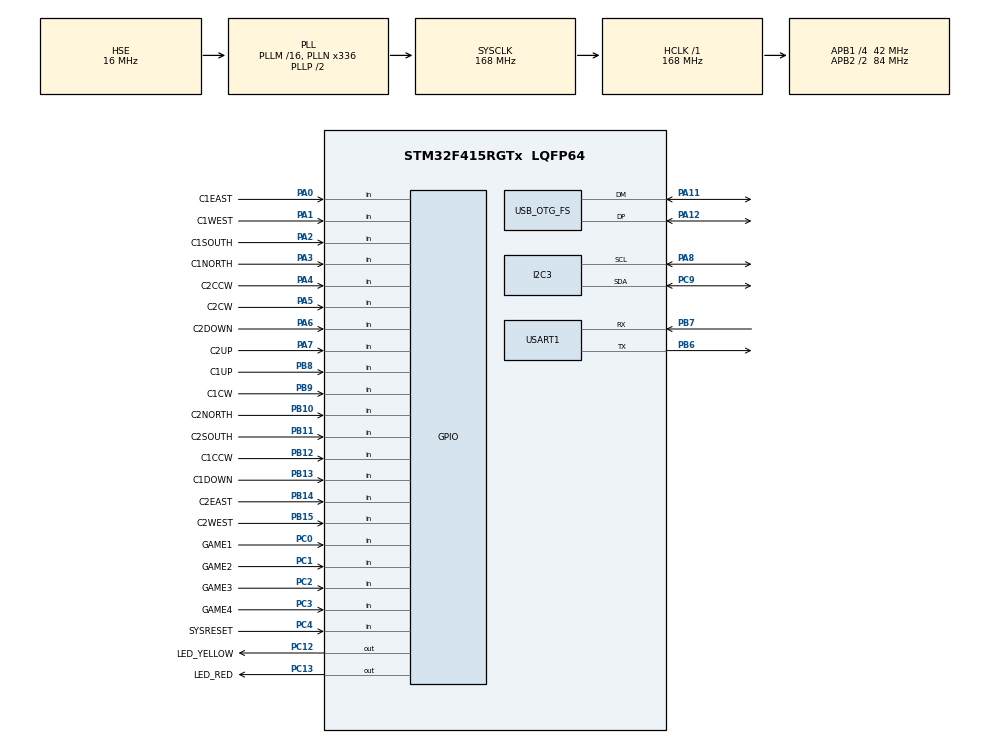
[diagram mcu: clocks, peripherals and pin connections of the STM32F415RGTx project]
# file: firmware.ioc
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Mcu.Family=STM32F4
Mcu.Name=STM32F415RGTx
Mcu.Package=LQFP64
NVIC.OTG_FS_IRQn=true\:0\:0\:false\:false\:true\:false
NVIC.PriorityGroup=NVIC_PRIORITYGROUP_4
NVIC.USART1_IRQn=true\:0\:0\:false\:false\:true\:true
PA0-WKUP.GPIO_Label=C1EAST
PA0-WKUP.GPIO_PuPd=GPIO_PULLUP
PA0-WKUP.Signal=GPIO_Input
PA1.GPIO_Label=C1WEST
PA1.GPIO_PuPd=GPIO_PULLUP
PA1.Signal=GPIO_Input
PA11.Mode=Device_Only
PA11.Signal=USB_OTG_FS_DM
PA12.Mode=Device_Only
PA12.Signal=USB_OTG_FS_DP
PA2.GPIO_Label=C1SOUTH
PA2.GPIO_Mode=GPIO_MODE_INPUT
PA2.GPIO_PuPd=GPIO_PULLUP
PA2.Signal=GPIO_Input
PA3.GPIO_Label=C1NORTH
PA3.GPIO_Mode=GPIO_MODE_INPUT
PA3.GPIO_PuPd=GPIO_PULLUP
PA3.Signal=GPIO_Input
PA4.GPIO_Label=C2CCW
PA4.GPIO_Mode=GPIO_MODE_INPUT
PA4.GPIO_PuPd=GPIO_PULLUP
PA4.Signal=GPIO_Input
PA5.GPIO_Label=C2CW
PA5.GPIO_Mode=GPIO_MODE_INPUT
PA5.GPIO_PuPd=GPIO_PULLUP
PA5.Signal=GPIO_Input
PA6.GPIO_Label=C2DOWN
PA6.GPIO_Mode=GPIO_MODE_INPUT
PA6.GPIO_PuPd=GPIO_PULLUP
PA6.Signal=GPIO_Input
PA7.GPIO_Label=C2UP
PA7.GPIO_Mode=GPIO_MODE_INPUT
PA7.GPIO_PuPd=GPIO_PULLUP
PA7.Signal=GPIO_Input
PA8.Mode=I2C
PA8.Signal=I2C3_SCL
PB10.GPIO_Label=C2NORTH
PB10.GPIO_Mode=GPIO_MODE_INPUT
PB10.GPIO_PuPd=GPIO_PULLUP
PB10.Signal=GPIO_Input
PB11.GPIO_Label=C2SOUTH
PB11.GPIO_Mode=GPIO_MODE_INPUT
PB11.GPIO_PuPd=GPIO_PULLUP
PB11.Signal=GPIO_Input
PB12.GPIO_Label=C1CCW
PB12.GPIO_Mode=GPIO_MODE_INPUT
PB12.GPIO_PuPd=GPIO_PULLUP
PB12.Signal=GPIO_Input
PB13.GPIO_Label=C1DOWN
PB13.GPIO_Mode=GPIO_MODE_INPUT
PB13.GPIO_PuPd=GPIO_PULLUP
PB13.Signal=GPIO_Input
PB14.GPIO_Label=C2EAST
PB14.GPIO_Mode=GPIO_MODE_INPUT
PB14.GPIO_PuPd=GPIO_PULLUP
PB14.Signal=GPIO_Input
PB15.GPIO_Label=C2WEST
PB15.GPIO_Mode=GPIO_MODE_INPUT
PB15.GPIO_PuPd=GPIO_PULLUP
PB15.Signal=GPIO_Input
PB6.Mode=Asynchronous
PB6.Signal=USART1_TX
PB7.Mode=Asynchronous
PB7.Signal=USART1_RX
PB8.GPIO_Label=C1UP
PB8.GPIO_PuPd=GPIO_PULLUP
PB8.Signal=GPIO_Input
PB9.GPIO_Label=C1CW
PB9.GPIO_Mode=GPIO_MODE_INPUT
PB9.GPIO_PuPd=GPIO_PULLUP
PB9.Signal=GPIO_Input
PC0.GPIO_Label=GAME1
PC0.GPIO_PuPd=GPIO_PULLUP
PC0.Signal=GPIO_Input
PC1.GPIO_Label=GAME2
PC1.GPIO_PuPd=GPIO_PULLUP
PC1.Signal=GPIO_Input
PC12.GPIO_Label=LED_YELLOW
PC12.GPIO_PuPd=GPIO_NOPULL
PC12.Signal=GPIO_Output
PC13-ANTI_TAMP.GPIO_Label=LED_RED
PC13-ANTI_TAMP.GPIO_PuPd=GPIO_NOPULL
PC13-ANTI_TAMP.PinState=GPIO_PIN_RESET
PC13-ANTI_TAMP.Signal=GPIO_Output
PC14-OSC32_IN.Mode=LSE-External-Oscillator
PC14-OSC32_IN.Signal=RCC_OSC32_IN
PC15-OSC32_OUT.Mode=LSE-External-Oscillator
PC15-OSC32_OUT.Signal=RCC_OSC32_OUT
PC2.GPIO_Label=GAME3
PC2.GPIO_PuPd=GPIO_PULLUP
PC2.Signal=GPIO_Input
PC3.GPIO_Label=GAME4
PC3.GPIO_PuPd=GPIO_PULLUP
PC3.Signal=GPIO_Input
PC4.GPIO_Label=SYSRESET
PC4.GPIO_PuPd=GPIO_PULLUP
PC4.Signal=GPIO_Input
PC9.Mode=I2C
PC9.Signal=I2C3_SDA
PH0-OSC_IN.Mode=HSE-External-Oscillator
PH0-OSC_IN.Signal=RCC_OSC_IN
PH1-OSC_OUT.Mode=HSE-External-Oscillator
PH1-OSC_OUT.Signal=RCC_OSC_OUT
ProjectManager.HeapSize=0x200
ProjectManager.StackSize=0x400
ProjectManager.TargetToolchain=Makefile
RCC.48MHZClocksFreq_Value=48000000
RCC.AHBFreq_Value=168000000
RCC.APB1CLKDivider=RCC_HCLK_DIV4
RCC.APB1Freq_Value=42000000
RCC.APB1TimFreq_Value=84000000
RCC.APB2CLKDivider=RCC_HCLK_DIV2
RCC.APB2Freq_Value=84000000
RCC.APB2TimFreq_Value=168000000
RCC.CortexFreq_Value=168000000
RCC.HCLKFreq_Value=168000000
RCC.HSE_VALUE=16000000
RCC.HSI_VALUE=16000000
RCC.PLLN=336
RCC.PLLQ=7
RCC.SYSCLKFreq_VALUE=168000000
RCC.SYSCLKSource=RCC_SYSCLKSOURCE_PLLCLK
RCC.VCOOutputFreq_Value=336000000
USART1.VirtualMode=VM_ASYNC
USB_DEVICE.CLASS_NAME_FS=CUSTOMHID
USB_DEVICE.PID_CUSTOMHID_FS=5710
USB_DEVICE.PRODUCT_STRING_CUSTOMHID_FS=ChannelF USB Joystick
USB_DEVICE.USBD_CUSTOMHID_OUTREPORT_BUF_SIZE-CUSTOM_HID_FS=64
USB_DEVICE.USBD_CUSTOM_HID_REPORT_DESC_SIZE-CUSTOM_HID_FS=25
USB_DEVICE.VirtualMode-CUSTOM_HID_FS=CustomHid
USB_DEVICE.VirtualModeFS=Custom_Hid_FS
USB_OTG_FS.VirtualMode=Device_Only
VP_USB_DEVICE_VS_USB_DEVICE_CUSTOM_HID_FS.Mode=CUSTOM_HID_FS
board=firmware

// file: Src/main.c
/**
  ******************************************************************************
  * File Name          : main.c
  * Description        : Main program body
  ******************************************************************************
  * This notice applies to any and all portions of this file
  * that are not between comment pairs USER CODE BEGIN and
  * USER CODE END. Other portions of this file, whether
  * inserted by the user or by software development tools
  * are owned by their respective copyright owners.
  *
  * Copyright (c) 2019 STMicroelectronics International N.V.
  * All rights reserved.
  *
  * Redistribution and use in source and binary forms, with or without
  * modification, are permitted, provided that the following conditions are met:
  *
  * 1. Redistribution of source code must retain the above copyright notice,
  *    this list of conditions and the following disclaimer.
  * 2. Redistributions in binary form must reproduce the above copyright notice,
  *    this list of conditions and the following disclaimer in the documentation
  *    and/or other materials provided with the distribution.
  * 3. Neither the name of STMicroelectronics nor the names of other
  *    contributors to this software may be used to endorse or promote products
  *    derived from this software without specific written permission.
  * 4. This software, including modifications and/or derivative works of this
  *    software, must execute solely and exclusively on microcontroller or
  *    microprocessor devices manufactured by or for STMicroelectronics.
  * 5. Redistribution and use of this software other than as permitted under
  *    this license is void and will automatically terminate your rights under
  *    this license.
  *
  * THIS SOFTWARE IS PROVIDED BY STMICROELECTRONICS AND CONTRIBUTORS "AS IS"
  * AND ANY EXPRESS, IMPLIED OR STATUTORY WARRANTIES, INCLUDING, BUT NOT
  * LIMITED TO, THE IMPLIED WARRANTIES OF MERCHANTABILITY, FITNESS FOR A
  * PARTICULAR PURPOSE AND NON-INFRINGEMENT OF THIRD PARTY INTELLECTUAL PROPERTY
  * RIGHTS ARE DISCLAIMED TO THE FULLEST EXTENT PERMITTED BY LAW. IN NO EVENT
  * SHALL STMICROELECTRONICS OR CONTRIBUTORS BE LIABLE FOR ANY DIRECT, INDIRECT,
  * INCIDENTAL, SPECIAL, EXEMPLARY, OR CONSEQUENTIAL DAMAGES (INCLUDING, BUT NOT
  * LIMITED TO, PROCUREMENT OF SUBSTITUTE GOODS OR SERVICES; LOSS OF USE, DATA,
  * OR PROFITS; OR BUSINESS INTERRUPTION) HOWEVER CAUSED AND ON ANY THEORY OF
  * LIABILITY, WHETHER IN CONTRACT, STRICT LIABILITY, OR TORT (INCLUDING
  * NEGLIGENCE OR OTHERWISE) ARISING IN ANY WAY OUT OF THE USE OF THIS SOFTWARE,
  * EVEN IF ADVISED OF THE POSSIBILITY OF SUCH DAMAGE.
  *
  ******************************************************************************
  */
#include "main.h"
#include "stm32f4xx_hal.h"
#include "usb_device.h"

I2C_HandleTypeDef hi2c3;

UART_HandleTypeDef huart1;

/* USER CODE BEGIN PV */
/* Private variables ---------------------------------------------------------*/

/* USER CODE END PV */

void SystemClock_Config(void);
static void MX_GPIO_Init(void);
static void MX_USART1_UART_Init(void);
static void MX_I2C3_Init(void);

/* USER CODE BEGIN PFP */
/* Private function prototypes -----------------------------------------------*/

/* USER CODE END PFP */

/* USER CODE BEGIN 0 */

void delay_ms(int ms)
{
    HAL_Delay(ms);
}

void delay_100ms(unsigned char count)
{
    HAL_Delay(count * 100);
}

#define INFO_LED_PIN_MASK LED_RED_Pin
#define INFO_LED_PORT LED_RED_GPIO_Port

#define HEARTBEAT_LED_PIN_MASK LED_YELLOW_Pin
#define HEARTBEAT_LED_PORT LED_YELLOW_GPIO_Port

void LED_set_panic(int on)
{
    HAL_GPIO_WritePin(INFO_LED_PORT, INFO_LED_PIN_MASK, on);
}

void LED_beat_heart()
{
    static int heartbeat_level = 1;
    static unsigned int previous_heartbeat_tick = 0;

    unsigned int now = HAL_GetTick();
    if(heartbeat_level == 1) {
        if(now - previous_heartbeat_tick > 350) {
            heartbeat_level = 0;
            HAL_GPIO_WritePin(HEARTBEAT_LED_PORT, HEARTBEAT_LED_PIN_MASK, heartbeat_level);
            previous_heartbeat_tick = now;
        }
    } else {
        if(now - previous_heartbeat_tick > 650) {
            heartbeat_level = 1;
            HAL_GPIO_WritePin(HEARTBEAT_LED_PORT, HEARTBEAT_LED_PIN_MASK, heartbeat_level);
            previous_heartbeat_tick = now;
        }
    }
}

void LED_set_info(int on)
{
    HAL_GPIO_WritePin(INFO_LED_PORT, INFO_LED_PIN_MASK, on);
}

void panic_worse()
{
    HAL_GPIO_WritePin(HEARTBEAT_LED_PORT, HEARTBEAT_LED_PIN_MASK, 0);
    LED_set_panic(1);
    for(;;);
}

// void serial_flush();

void panic(void)
{
    static int entered = 0;

    LED_set_panic(1);

    HAL_GPIO_WritePin(HEARTBEAT_LED_PORT, HEARTBEAT_LED_PIN_MASK, 1);

    int pin = 0;
    for(;;) {
        if(!entered) {
            // serial_flush() can itself panic(), so stop reentry here
            entered = 1;
            // serial_flush();
            entered = 0;
        }

        LED_set_panic(pin);
        pin = pin ? 0 : 1;
        delay_ms(100);
    }
}

#define TRANSMIT_BUFFER_SIZE 512
volatile unsigned char gTransmitBuffers[2][TRANSMIT_BUFFER_SIZE];
volatile int gNextTransmitBuffer = 0;
volatile int gTransmitBufferLengths[2] = {0, 0};
volatile int gUARTTransmitBusy = 0;

void HAL_UART_TxCpltCallback(UART_HandleTypeDef *huart)
{
    gUARTTransmitBusy = 0;
}

void serial_try_to_transmit_buffers()
{
    if(!gUARTTransmitBusy && gTransmitBufferLengths[gNextTransmitBuffer] > 0) {
        gUARTTransmitBusy = 1;

        if(HAL_UART_Transmit_IT(&huart1, (uint8_t *)&gTransmitBuffers[gNextTransmitBuffer][0], gTransmitBufferLengths[gNextTransmitBuffer]) != HAL_OK) {
            panic();
        }

        gNextTransmitBuffer ^= 1;
        gTransmitBufferLengths[gNextTransmitBuffer] = 0;
    }
}

void serial_flush()
{
    while(gUARTTransmitBusy || gTransmitBufferLengths[gNextTransmitBuffer] > 0)
        serial_try_to_transmit_buffers();
}

void serial_enqueue_one_char(char c)
{
    do {
        // Transmit the current buffer if there is one and serial
        // port is not busy
        serial_try_to_transmit_buffers();

        // While there's no room in the current buffer, repeat until buffer becomes available
    } while(gTransmitBufferLengths[gNextTransmitBuffer] >= TRANSMIT_BUFFER_SIZE);

    int length = gTransmitBufferLengths[gNextTransmitBuffer];
    gTransmitBuffers[gNextTransmitBuffer][length] = c;
    gTransmitBufferLengths[gNextTransmitBuffer]++;
}

void HAL_UART_ErrorCallback(UART_HandleTypeDef *huart)
{
    panic();
}

void __io_putchar( char c )
{
    serial_enqueue_one_char(c);
}

int _write(int file, char *ptr, int len)
{
        int DataIdx;

                for (DataIdx = 0; DataIdx < len; DataIdx++)
                {
                   __io_putchar( *ptr++ );
                }
        return len;
}

enum {
    SYSRESET,
    GAME1,
    GAME2,
    GAME3,
    GAME4,
    C1_NORTH,
    C1_SOUTH,
    C1_WEST,
    C1_EAST,
    C1_UP,
    C1_DOWN,
    C1_CW,
    C1_CCW,
    C2_NORTH,
    C2_SOUTH,
    C2_WEST,
    C2_EAST,
    C2_UP,
    C2_DOWN,
    C2_CW,
    C2_CCW,
    BUTTON_MAX
};

uint8_t button_state[BUTTON_MAX];
uint64_t button_last[BUTTON_MAX];
uint64_t debounce_millis = 30;

typedef struct button_info
{
    GPIO_TypeDef* port;
    uint16_t pin;
} button_info;

button_info button_sources[BUTTON_MAX] =
{
    { SYSRESET_GPIO_Port, SYSRESET_Pin },
    { GAME1_GPIO_Port, GAME1_Pin },
    { GAME2_GPIO_Port, GAME2_Pin },
    { GAME3_GPIO_Port, GAME3_Pin },
    { GAME4_GPIO_Port, GAME4_Pin },
    { C1NORTH_GPIO_Port, C1NORTH_Pin },
    { C1SOUTH_GPIO_Port, C1SOUTH_Pin },
    { C1WEST_GPIO_Port, C1WEST_Pin },
    { C1EAST_GPIO_Port, C1EAST_Pin },
    { C1UP_GPIO_Port, C1UP_Pin },
    { C1DOWN_GPIO_Port, C1DOWN_Pin },
    { C1CW_GPIO_Port, C1CW_Pin },
    { C1CCW_GPIO_Port, C1CCW_Pin },
    { C2NORTH_GPIO_Port, C2NORTH_Pin },
    { C2SOUTH_GPIO_Port, C2SOUTH_Pin },
    { C2WEST_GPIO_Port, C2WEST_Pin },
    { C2EAST_GPIO_Port, C2EAST_Pin },
    { C2UP_GPIO_Port, C2UP_Pin },
    { C2DOWN_GPIO_Port, C2DOWN_Pin },
    { C2CW_GPIO_Port, C2CW_Pin },
    { C2CCW_GPIO_Port, C2CCW_Pin },
};

void check_buttons()
{
    uint64_t now = HAL_GetTick();

    for(int button = 0; button < BUTTON_MAX; button++) {
        int state = !HAL_GPIO_ReadPin(button_sources[button].port, button_sources[button].pin);

        if((state != button_state[button]) && (now > button_last[button] + debounce_millis)) {
            if(state) {
                printf("%d pressed\n", button);
            } else {
                printf("%d released\n", button);
            }
            button_state[button] = state;
            button_last[button] = now;
        }
    }
}

const uint64_t send_report_millis = 20;

/* USER CODE END 0 */

int main(void)
{

  /* MCU Configuration----------------------------------------------------------*/

  /* Reset of all peripherals, Initializes the Flash interface and the Systick. */
  HAL_Init();

  /* Configure the system clock */
  SystemClock_Config();

  /* Initialize all configured peripherals */
  MX_GPIO_Init();
  MX_USART1_UART_Init();
  MX_USB_DEVICE_Init();
  MX_I2C3_Init();

  /* USER CODE BEGIN 2 */

    printf("hello!\n");
    serial_flush();

  /* USER CODE END 2 */

  /* Infinite loop */
  /* USER CODE BEGIN WHILE */
  uint64_t then = HAL_GetTick();
  while (1)
  {
  /* USER CODE END WHILE */

  /* USER CODE BEGIN 3 */

     check_buttons();

     uint64_t now = HAL_GetTick();

     if(now > then + send_report_millis) {
         then = now;

         unsigned char report[5];

         report[0] = 0x01;

         report[1] =
             (button_state[C1_NORTH] ? 0x10 : 0) |
             (button_state[C1_EAST] ? 0x20 : 0) |
             (button_state[C1_SOUTH] ? 0x40 : 0) |
             (button_state[C1_WEST] ? 0x80 : 0);
         report[2] =
             (button_state[C1_UP] ? 0x10 : 0) |
             (button_state[C1_CW] ? 0x20 : 0) |
             (button_state[C1_DOWN] ? 0x40 : 0) |
             (button_state[C1_CCW] ? 0x80 : 0);

         report[3] =
             (button_state[GAME1] ? 0x01 : 0) |
             (button_state[GAME2] ? 0x02 : 0) |
             (button_state[GAME3] ? 0x04 : 0) |
             (button_state[GAME4] ? 0x08 : 0) |
             (button_state[C2_NORTH] ? 0x10 : 0) |
             (button_state[C2_EAST] ? 0x20 : 0) |
             (button_state[C2_SOUTH] ? 0x40 : 0) |
             (button_state[C2_WEST] ? 0x80 : 0);
         report[4] =
             (button_state[SYSRESET] ? 0x01 : 0) |
             (button_state[C2_UP] ? 0x10 : 0) |
             (button_state[C2_CW] ? 0x20 : 0) |
             (button_state[C2_DOWN] ? 0x40 : 0) |
             (button_state[C2_CCW] ? 0x80 : 0);

         printf("%02X %02X %02X %02X %02X\n", report[0], report[1], report[2], report[3], report[4]);

         USBD_CUSTOM_HID_SendReport( &hUsbDeviceFS, report, sizeof(report));
     }

     LED_beat_heart();
     serial_flush();

  }
  /* USER CODE END 3 */

}

/** System Clock Configuration
*/
void SystemClock_Config(void)
{

  RCC_OscInitTypeDef RCC_OscInitStruct;
  RCC_ClkInitTypeDef RCC_ClkInitStruct;

    /**Configure the main internal regulator output voltage
    */
  __HAL_RCC_PWR_CLK_ENABLE();

  __HAL_PWR_VOLTAGESCALING_CONFIG(PWR_REGULATOR_VOLTAGE_SCALE1);

    /**Initializes the CPU, AHB and APB busses clocks
    */
  RCC_OscInitStruct.OscillatorType = RCC_OSCILLATORTYPE_HSE;
  RCC_OscInitStruct.HSEState = RCC_HSE_ON;
  RCC_OscInitStruct.PLL.PLLState = RCC_PLL_ON;
  RCC_OscInitStruct.PLL.PLLSource = RCC_PLLSOURCE_HSE;
  RCC_OscInitStruct.PLL.PLLM = 16;
  RCC_OscInitStruct.PLL.PLLN = 336;
  RCC_OscInitStruct.PLL.PLLP = RCC_PLLP_DIV2;
  RCC_OscInitStruct.PLL.PLLQ = 7;
  if (HAL_RCC_OscConfig(&RCC_OscInitStruct) != HAL_OK)
  {
    _Error_Handler(__FILE__, __LINE__);
  }

    /**Initializes the CPU, AHB and APB busses clocks
    */
  RCC_ClkInitStruct.ClockType = RCC_CLOCKTYPE_HCLK|RCC_CLOCKTYPE_SYSCLK
                              |RCC_CLOCKTYPE_PCLK1|RCC_CLOCKTYPE_PCLK2;
  RCC_ClkInitStruct.SYSCLKSource = RCC_SYSCLKSOURCE_PLLCLK;
  RCC_ClkInitStruct.AHBCLKDivider = RCC_SYSCLK_DIV1;
  RCC_ClkInitStruct.APB1CLKDivider = RCC_HCLK_DIV4;
  RCC_ClkInitStruct.APB2CLKDivider = RCC_HCLK_DIV2;

  if (HAL_RCC_ClockConfig(&RCC_ClkInitStruct, FLASH_LATENCY_5) != HAL_OK)
  {
    _Error_Handler(__FILE__, __LINE__);
  }

    /**Configure the Systick interrupt time
    */
  HAL_SYSTICK_Config(HAL_RCC_GetHCLKFreq()/1000);

    /**Configure the Systick
    */
  HAL_SYSTICK_CLKSourceConfig(SYSTICK_CLKSOURCE_HCLK);

  /* SysTick_IRQn interrupt configuration */
  HAL_NVIC_SetPriority(SysTick_IRQn, 0, 0);
}

/* I2C3 init function */
static void MX_I2C3_Init(void)
{

  hi2c3.Instance = I2C3;
  hi2c3.Init.ClockSpeed = 100000;
  hi2c3.Init.DutyCycle = I2C_DUTYCYCLE_2;
  hi2c3.Init.OwnAddress1 = 0;
  hi2c3.Init.AddressingMode = I2C_ADDRESSINGMODE_7BIT;
  hi2c3.Init.DualAddressMode = I2C_DUALADDRESS_DISABLE;
  hi2c3.Init.OwnAddress2 = 0;
  hi2c3.Init.GeneralCallMode = I2C_GENERALCALL_DISABLE;
  hi2c3.Init.NoStretchMode = I2C_NOSTRETCH_DISABLE;
  if (HAL_I2C_Init(&hi2c3) != HAL_OK)
  {
    _Error_Handler(__FILE__, __LINE__);
  }

}

/* USART1 init function */
static void MX_USART1_UART_Init(void)
{

  huart1.Instance = USART1;
  huart1.Init.BaudRate = 115200;
  huart1.Init.WordLength = UART_WORDLENGTH_8B;
  huart1.Init.StopBits = UART_STOPBITS_1;
  huart1.Init.Parity = UART_PARITY_NONE;
  huart1.Init.Mode = UART_MODE_TX_RX;
  huart1.Init.HwFlowCtl = UART_HWCONTROL_NONE; // XXX RTS_CTS??
  huart1.Init.OverSampling = UART_OVERSAMPLING_16;
  if (HAL_UART_Init(&huart1) != HAL_OK)
  {
    _Error_Handler(__FILE__, __LINE__);
  }

}

/** Configure pins as
        * Analog
        * Input
        * Output
        * EVENT_OUT
        * EXTI
*/
static void MX_GPIO_Init(void)
{

  GPIO_InitTypeDef GPIO_InitStruct;

  /* GPIO Ports Clock Enable */
  __HAL_RCC_GPIOC_CLK_ENABLE();
  __HAL_RCC_GPIOH_CLK_ENABLE();
  __HAL_RCC_GPIOA_CLK_ENABLE();
  __HAL_RCC_GPIOB_CLK_ENABLE();

  /*Configure GPIO pin Output Level */
  HAL_GPIO_WritePin(GPIOC, LED_RED_Pin|LED_YELLOW_Pin, GPIO_PIN_RESET);

  /*Configure GPIO pins : LED_RED_Pin LED_YELLOW_Pin */
  GPIO_InitStruct.Pin = LED_RED_Pin|LED_YELLOW_Pin;
  GPIO_InitStruct.Mode = GPIO_MODE_OUTPUT_PP;
  GPIO_InitStruct.Pull = GPIO_NOPULL;
  GPIO_InitStruct.Speed = GPIO_SPEED_FREQ_LOW;
  HAL_GPIO_Init(GPIOC, &GPIO_InitStruct);

  /*Configure GPIO pins : GAME1_Pin GAME2_Pin GAME3_Pin GAME4_Pin
                           SYSRESET_Pin */
  GPIO_InitStruct.Pin = GAME1_Pin|GAME2_Pin|GAME3_Pin|GAME4_Pin
                          |SYSRESET_Pin;
  GPIO_InitStruct.Mode = GPIO_MODE_INPUT;
  GPIO_InitStruct.Pull = GPIO_PULLUP;
  HAL_GPIO_Init(GPIOC, &GPIO_InitStruct);

  /*Configure GPIO pins : C1EAST_Pin C1WEST_Pin C1SOUTH_Pin C1NORTH_Pin
                           C2CCW_Pin C2CW_Pin C2DOWN_Pin C2UP_Pin */
  GPIO_InitStruct.Pin = C1EAST_Pin|C1WEST_Pin|C1SOUTH_Pin|C1NORTH_Pin
                          |C2CCW_Pin|C2CW_Pin|C2DOWN_Pin|C2UP_Pin;
  GPIO_InitStruct.Mode = GPIO_MODE_INPUT;
  GPIO_InitStruct.Pull = GPIO_PULLUP;
  HAL_GPIO_Init(GPIOA, &GPIO_InitStruct);

  /*Configure GPIO pins : C2NORTH_Pin C2SOUTH_Pin C1CCW_Pin C1DOWN_Pin
                           C2EAST_Pin C2WEST_Pin C1UP_Pin C1CW_Pin */
  GPIO_InitStruct.Pin = C2NORTH_Pin|C2SOUTH_Pin|C1CCW_Pin|C1DOWN_Pin
                          |C2EAST_Pin|C2WEST_Pin|C1UP_Pin|C1CW_Pin;
  GPIO_InitStruct.Mode = GPIO_MODE_INPUT;
  GPIO_InitStruct.Pull = GPIO_PULLUP;
  HAL_GPIO_Init(GPIOB, &GPIO_InitStruct);

}

void _Error_Handler(char * file, int line)
{
  while(1)
  {
  }
}

/************************ (C) COPYRIGHT STMicroelectronics *****END OF FILE****/
